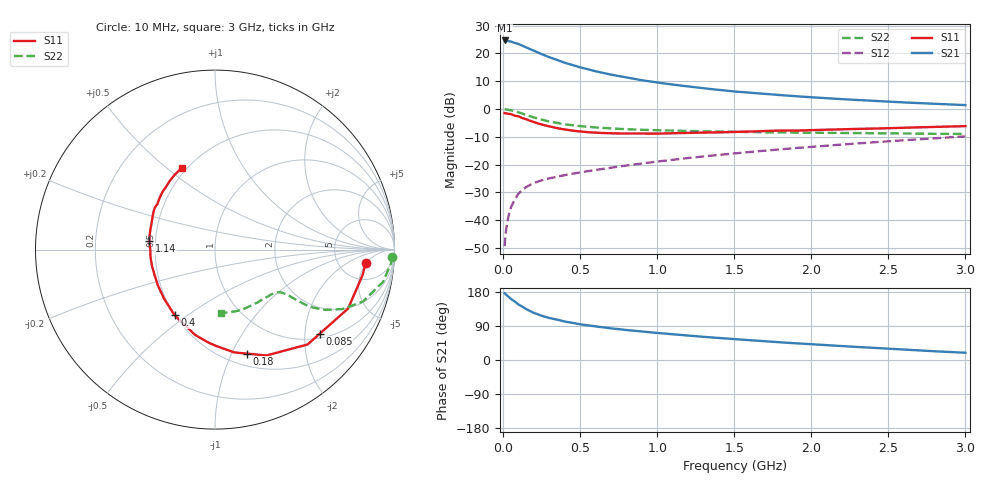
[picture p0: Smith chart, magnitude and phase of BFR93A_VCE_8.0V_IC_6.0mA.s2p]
! Infineon Technologies  Discrete & RF Semiconductors
! BFR93A
! VCE =  8.0 V,  IC =  6.0 mA
! Common Emitter S-Parameters:  Nov 2015
# GHz  S  MA  R  50
!  f  S11  S21  S12  S22
! GHz  MAG  ANG  MAG  ANG  MAG  ANG  MAG  ANG
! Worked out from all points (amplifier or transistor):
!   180 points, 10 MHz to 3 GHz, reference 50 ohm
!   highest |S21| = 24.7 dB at 10 MHz (marker M1)
!   |S21| within 3 dB of that: start of sweep to 171.2 MHz
!   unconditionally stable (mu >= 1): 728 MHz to 2.519 GHz
!   at 160 MHz: K = 0.37, MSG = 24.9 dB, |S12| = -27.8 dB
!   at 1.22 GHz: K = 1.10, MAG = 10.8 dB, |S12| = -17.5 dB
!   at 3 GHz: K = 0.94, MSG = 5.6 dB, |S12| = -9.9 dB
!   S11 on the Smith chart (normalised r, x): 10 MHz: 9, -5; 85 MHz: 1.12, -2.38; 180 MHz: 0.63, -1.15; 400 MHz: 0.50, -0.45; 1.14 GHz: 0.46, +0.05; 3 GHz: 0.47, +0.56
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0.01  0.8433 -4.9  17.11 175.9  0.0034 88.2  0.9892 -2.3
0.02  0.8344 -9.8  17.01 172.2  0.0068 83.2  0.9835 -4.5
0.05  0.811 -23.9  16.4 161.6  0.0165 78.0  0.9534 -10.9
0.085  0.7484 -38.8  15.16 151.4  0.0258 70.2  0.8953 -16.7
0.1  0.7386 -45.7  14.79 146.5  0.0299 68.3  0.8734 -19.4
0.15  0.6559 -64.1  12.88 133.9  0.0395 60.9  0.7817 -25.1
0.18  0.6065 -72.9  11.82 128.5  0.0437 58.5  0.735 -27.1
0.2  0.5825 -79.5  11.18 124.3  0.0466 57.2  0.7044 -28.5
0.24  0.5355 -89.7  9.999 118.3  0.0509 55.2  0.655 -30.0
0.26  0.5175 -94.5  9.48 115.6  0.0529 54.5  0.6333 -30.6
0.3  0.4878 -103.2  8.546 110.8  0.0565 53.7  0.5957 -31.3
0.4  0.4296 -121.6  6.792 101.4  0.0645 53.3  0.5302 -31.8
0.52  0.3891 -138.3  5.446 93.2  0.0737 54.4  0.4855 -31.9
0.6  0.3756 -147.9  4.777 88.5  0.0799 55.4  0.4644 -32.1
0.7  0.3658 -157.3  4.155 83.5  0.0881 56.5  0.4466 -32.6
0.9  0.3618 -173.6  3.296 75.2  0.1044 58.4  0.422 -34.2
1.02  0.3616 178.9  2.943 70.7  0.1149 59.2  0.4136 -35.6
1.14  0.3685 172.3  2.669 66.6  0.1257 59.7  0.4053 -37.4
1.52  0.3871 155.0  2.046 54.5  0.1606 60.1  0.3868 -44.2
2.02  0.4186 138.2  1.613 41.1  0.2103 58.7  0.3729 -55.5
2.52  0.4536 124.6  1.347 29.5  0.2649 55.6  0.364 -68.8
3  0.4916 112.2  1.175 19.1  0.3213 51.6  0.3555 -84.3
